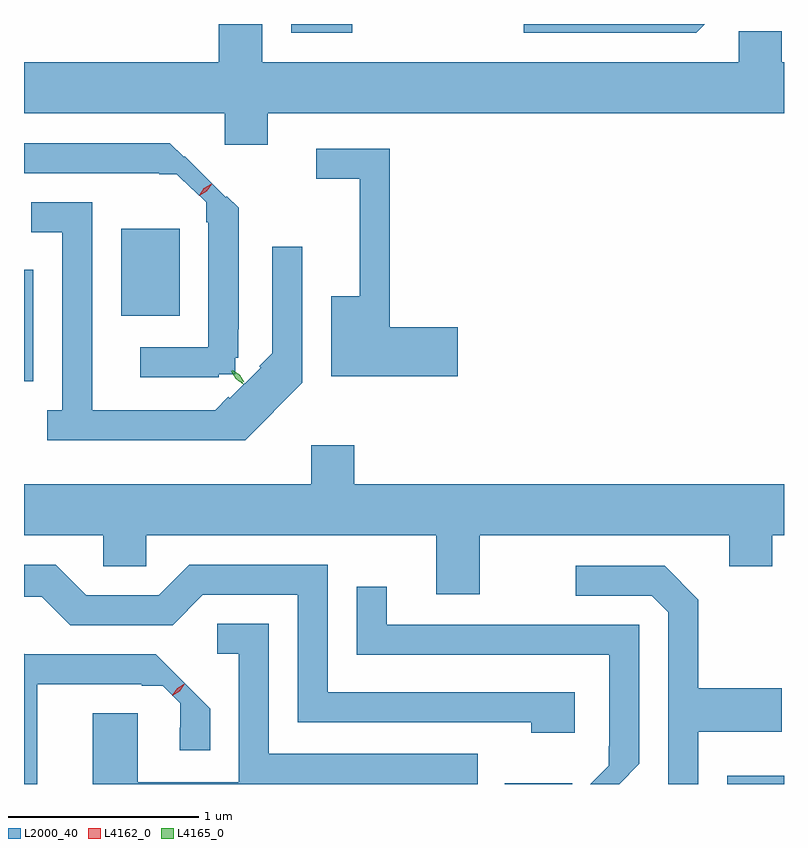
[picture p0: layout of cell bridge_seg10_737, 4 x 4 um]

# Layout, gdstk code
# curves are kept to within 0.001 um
import gdstk
lib = gdstk.Library(unit=1e-6, precision=1e-09)
def R(c, l, rs):  # rectangles x0, y0, x1, y1
    for r in rs: c.add(gdstk.rectangle(r[:2], r[2:], *l))
def P(c, l, *ps):  # polygons
    for p in ps: c.add(gdstk.Polygon(p, *l))
L2000_40 = (2000, 40)
L4162_0 = (4162, 0)
L4165_0 = (4165, 0)

bridge_seg10_737 = lib.new_cell('bridge_seg10_737')
R(bridge_seg10_737, L2000_40, [(609.051,2152.566,609.405,2152.569), (610.221,2152.566,610.52,2152.609), (606.52,2154.686,606.569,2155.273), (607.031,2155.031,607.339,2155.489), (607.926,2156.521,608.248,2156.566)])
P(bridge_seg10_737, L2000_40, [(607.804,2156.096),(610.52,2156.096),(610.52,2156.364),(610.509,2156.364),(610.509,2156.529),(610.281,2156.529),(610.281,2156.364),(607.774,2156.364),(607.774,2156.566),(607.546,2156.566),(607.546,2156.364),(606.52,2156.364),(606.52,2156.096),(607.576,2156.096),(607.576,2155.931),(607.804,2155.931)],
  [(610.102,2156.566),(609.151,2156.566),(609.151,2156.521),(610.057,2156.521)],
  [(607.395,2154.707),(607.545,2154.707),(607.545,2154.723),(607.633,2154.723),(607.633,2154.81),(607.648,2154.81),(607.649,2155.598),(607.587,2155.66),(607.581,2155.655),(607.365,2155.871),(607.36,2155.867),(607.288,2155.939),(606.52,2155.939),(606.52,2155.781),(607.233,2155.781),(607.233,2155.774),(607.325,2155.774),(607.405,2155.695),(607.407,2155.697),(607.478,2155.627),(607.478,2155.523),(607.491,2155.523),(607.491,2154.864),(607.133,2154.864),(607.133,2154.706)],
  [(608.804,2154.969),(608.444,2154.969),(608.444,2155.909),(608.058,2155.909),(608.058,2155.751),(608.286,2155.751),(608.286,2155.134),(608.136,2155.134),(608.136,2154.711),(608.804,2154.711)],
  [(607.984,2154.677),(607.984,2155.393),(607.826,2155.393),(607.826,2154.834),(607.757,2154.765),(607.765,2154.758),(607.602,2154.596),(607.595,2154.603),(607.526,2154.534),(606.879,2154.534),(606.879,2155.629),(606.558,2155.629),(606.558,2155.471),(606.721,2155.471),(606.721,2154.534),(606.643,2154.534),(606.643,2154.376),(607.684,2154.376)],
  [(608.919,2153.876),(610.231,2153.876),(610.231,2153.711),(610.459,2153.711),(610.459,2153.876),(610.52,2153.876),(610.52,2154.144),(608.259,2154.144),(608.259,2154.349),(608.031,2154.349),(608.031,2154.144),(606.52,2154.144),(606.52,2153.876),(606.936,2153.876),(606.936,2153.711),(607.164,2153.711),(607.164,2153.876),(608.691,2153.876),(608.691,2153.566),(608.919,2153.566)],
  [(609.419,2153.049),(608.119,2153.049),(608.119,2153.719),(607.389,2153.719),(607.229,2153.559),(606.847,2153.559),(606.687,2153.719),(606.52,2153.719),(606.52,2153.551),(606.614,2153.551),(606.764,2153.401),(607.302,2153.401),(607.462,2153.561),(607.961,2153.561),(607.961,2152.891),(609.191,2152.891),(609.191,2152.836),(609.419,2152.836)],
  [(610.069,2152.841),(610.509,2152.841),(610.509,2153.069),(610.069,2153.069),(610.069,2153.537),(609.892,2153.714),(609.423,2153.714),(609.423,2153.556),(609.824,2153.556),(609.911,2153.469),(609.911,2152.566),(610.069,2152.566)],
  [(609.759,2152.672),(609.759,2153.404),(608.429,2153.404),(608.429,2153.603),(608.271,2153.603),(608.271,2153.246),(609.601,2153.246),(609.601,2152.765),(609.598,2152.765),(609.598,2152.663),(609.501,2152.566),(609.653,2152.566)],
  [(608.908,2152.724),(607.809,2152.724),(607.809,2153.409),(607.538,2153.409),(607.538,2153.251),(607.651,2153.251),(607.651,2152.574),(607.119,2152.574),(607.119,2152.939),(606.881,2152.939),(606.881,2152.566),(608.908,2152.566)],
  [(606.589,2153.091),(607.14,2153.091),(607.14,2153.083),(607.25,2153.083),(607.342,2152.991),(607.341,2152.743),(607.499,2152.743),(607.499,2152.962),(607.213,2153.249),(606.522,2153.249),(606.52,2153.251),(606.52,2152.566),(606.589,2152.566)])
P(bridge_seg10_737, L4162_0, [(607.442,2155.662),(607.442,2155.663),(607.468,2155.7),(607.508,2155.724),(607.509,2155.724),(607.509,2155.723),(607.482,2155.686),(607.442,2155.662)],
  [(607.304,2153.035),(607.304,2153.036),(607.326,2153.07),(607.361,2153.09),(607.362,2153.09),(607.362,2153.089),(607.34,2153.055),(607.305,2153.035)],
  [(607.3,2153.031),(607.3,2153.032),(607.326,2153.07),(607.366,2153.094),(607.366,2153.094),(607.366,2153.093),(607.34,2153.055),(607.3,2153.031)],
  [(607.445,2155.668),(607.445,2155.668),(607.467,2155.702),(607.502,2155.722),(607.503,2155.722),(607.503,2155.721),(607.481,2155.687),(607.446,2155.668)])
P(bridge_seg10_737, L4165_0, [(607.673,2154.671),(607.634,2154.699),(607.61,2154.739),(607.61,2154.74),(607.61,2154.74),(607.649,2154.712),(607.674,2154.672),(607.674,2154.671)],
  [(607.678,2154.68),(607.641,2154.705),(607.617,2154.743),(607.617,2154.744),(607.618,2154.744),(607.655,2154.719),(607.679,2154.681),(607.679,2154.68)])

lib.write_gds('bridge_seg10_737.gds')
